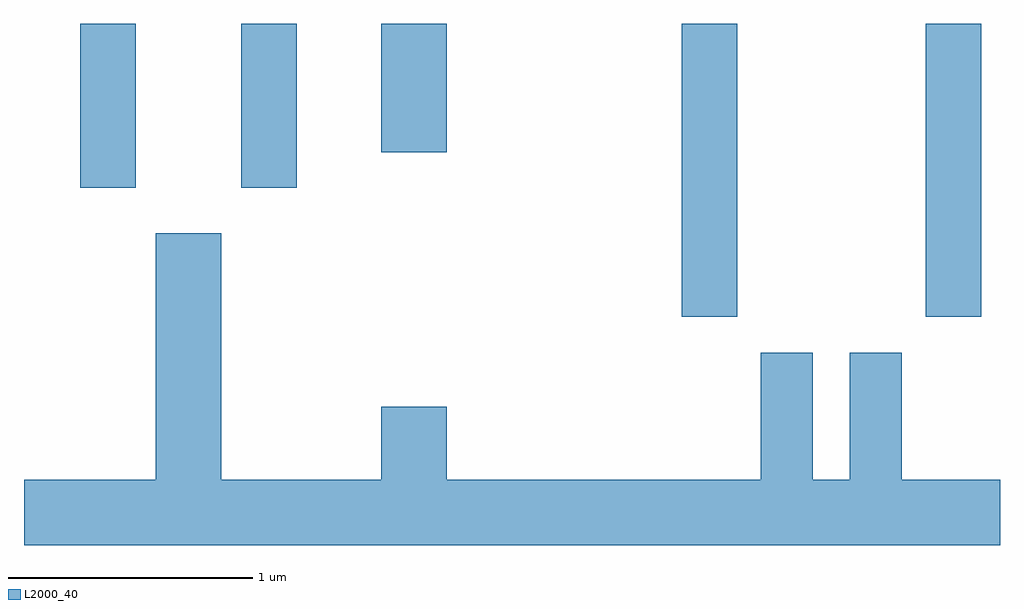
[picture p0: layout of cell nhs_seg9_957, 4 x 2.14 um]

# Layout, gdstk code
import gdstk
lib = gdstk.Library(unit=1e-6, precision=1e-09)
def R(c, l, rs):  # rectangles x0, y0, x1, y1
    for r in rs: c.add(gdstk.rectangle(r[:2], r[2:], *l))
def P(c, l, *ps):  # polygons
    for p in ps: c.add(gdstk.Polygon(p, *l))
L2000_40 = (2000, 40)

nhs_seg9_957 = lib.new_cell('nhs_seg9_957')
R(nhs_seg9_957, L2000_40, [(216.306,1957.231,216.534,1958.432), (217.306,1957.231,217.534,1958.432), (213.841,1957.761,214.069,1958.432), (214.501,1957.761,214.729,1958.432), (215.076,1957.906,215.344,1958.432)])
P(nhs_seg9_957, L2000_40, [(217.611,1956.564),(217.209,1956.564),(217.209,1957.084),(216.996,1957.084),(216.996,1956.564),(216.844,1956.564),(216.844,1957.084),(216.631,1957.084),(216.631,1956.564),(215.344,1956.564),(215.344,1956.864),(215.076,1956.864),(215.076,1956.564),(214.419,1956.564),(214.419,1957.574),(214.151,1957.574),(214.151,1956.564),(213.611,1956.564),(213.611,1956.296),(217.611,1956.296)])

lib.write_gds('nhs_seg9_957.gds')
